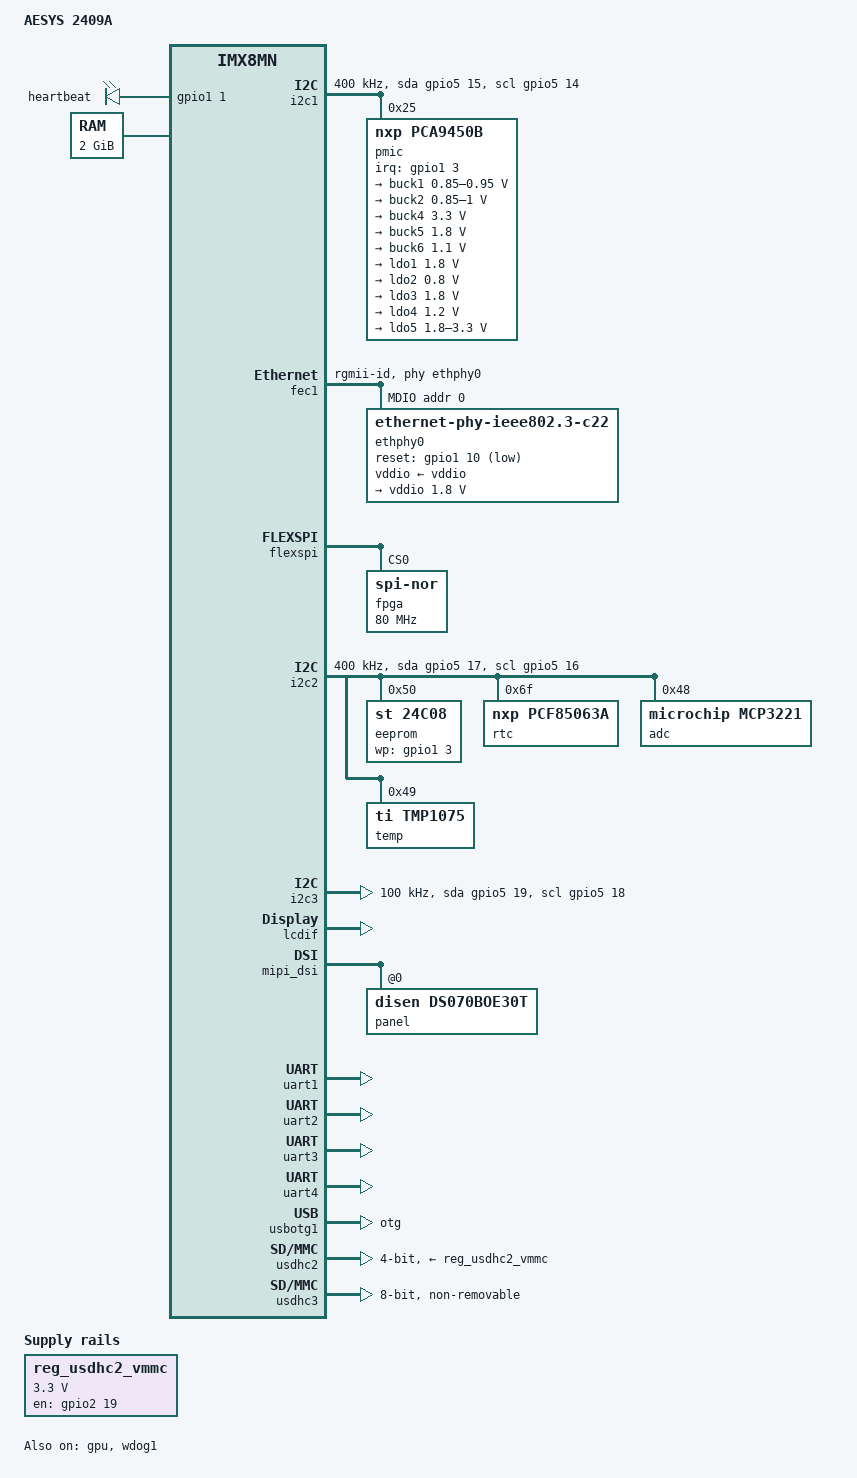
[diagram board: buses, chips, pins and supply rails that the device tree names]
// SPDX-License-Identifier: (GPL-2.0+ OR MIT)

/dts-v1/;

#include <dt-bindings/usb/pd.h>
#include "imx8mn.dtsi"

/ {
    model = "AESYS 2409A";
	compatible = "fsl,imx8mn-evk", "fsl,imx8mn";

	chosen {
		stdout-path = &uart2;
	};

    gpio-leds {
		compatible = "gpio-leds";
		pinctrl-names = "default";
		pinctrl-0 = <&pinctrl_gpio_led>;

		heartbeat {
			label = "heartbeat";
			linux,default-trigger = "heartbeat";
			gpios = <&gpio1 1 GPIO_ACTIVE_HIGH>;
		};
	};

	memory@40000000 {
		device_type = "memory";
		reg = <0x0 0x40000000 0 0x80000000>;
	};

	reg_usdhc2_vmmc: regulator-usdhc2 {
		compatible = "regulator-fixed";
		pinctrl-names = "default";
		pinctrl-0 = <&pinctrl_reg_usdhc2_vmmc>;
		regulator-name = "VSD_3V3";
		regulator-min-microvolt = <3300000>;
		regulator-max-microvolt = <3300000>;
		gpio = <&gpio2 19 GPIO_ACTIVE_HIGH>;
		off-on-delay-us = <12000>;
		enable-active-high;
	};
};

&A53_0 {
	cpu-supply = <&buck2>;
};

&A53_1 {
	cpu-supply = <&buck2>;
};

&A53_2 {
	cpu-supply = <&buck2>;
};

&A53_3 {
	cpu-supply = <&buck2>;
};

&i2c1 {
	pmic: pmic@25 {
		compatible = "nxp,pca9450b";
		reg = <0x25>;
		pinctrl-names = "default";
		pinctrl-0 = <&pinctrl_pmic>;
		interrupt-parent = <&gpio1>;
		interrupts = <3 IRQ_TYPE_LEVEL_LOW>;

		regulators {
			buck1: BUCK1 {
				regulator-name = "VDD_SOC";
				regulator-min-microvolt = <850000>;
				regulator-max-microvolt = <950000>;
				regulator-boot-on;
				regulator-always-on;
				regulator-ramp-delay = <3125>;
				nxp,dvs-run-voltage = <950000>;
				nxp,dvs-standby-voltage = <750000>;
			};

			buck2: BUCK2 {
				regulator-name = "VDD_ARM_0V9";
				regulator-min-microvolt = <850000>;
				regulator-max-microvolt = <1000000>;
				regulator-boot-on;
				regulator-always-on;
				regulator-ramp-delay = <3125>;
				nxp,dvs-run-voltage = <950000>;
				nxp,dvs-standby-voltage = <850000>;
			};

			buck4: BUCK4 {
				regulator-name = "VDD_3V3";
				regulator-min-microvolt = <3300000>;
				regulator-max-microvolt = <3300000>;
				regulator-boot-on;
				regulator-always-on;
			};

			buck5: BUCK5 {
				regulator-name = "VDD_1V8";
				regulator-min-microvolt = <1800000>;
				regulator-max-microvolt = <1800000>;
				regulator-boot-on;
				regulator-always-on;
			};

			buck6: BUCK6 {
				regulator-name = "NVCC_DRAM_1V1";
				regulator-min-microvolt = <1100000>;
				regulator-max-microvolt = <1100000>;
				regulator-boot-on;
				regulator-always-on;
			};

			ldo1: LDO1 {
				regulator-name = "NVCC_SNVS_1V8";
				regulator-min-microvolt = <1800000>;
				regulator-max-microvolt = <1800000>;
				regulator-boot-on;
				regulator-always-on;
			};

			ldo2: LDO2 {
				regulator-name = "VDD_SNVS_0V8";
				regulator-min-microvolt = <800000>;
				regulator-max-microvolt = <800000>;
				regulator-boot-on;
				regulator-always-on;
			};

			ldo3: LDO3 {
				regulator-name = "VDDA_1V8";
				regulator-min-microvolt = <1800000>;
				regulator-max-microvolt = <1800000>;
				regulator-boot-on;
				regulator-always-on;
			};

			ldo4: LDO4 {
				regulator-name = "VDD_PHY_1V2";
				regulator-min-microvolt = <1200000>;
				regulator-max-microvolt = <1200000>;
				regulator-boot-on;
				regulator-always-on;
			};

			ldo5: LDO5 {
				regulator-name = "NVCC_SD2";
				regulator-min-microvolt = <1800000>;
				regulator-max-microvolt = <3300000>;
				regulator-boot-on;
				regulator-always-on;
			};
		};
	};
};

&gpu {
	status = "okay";
};

&fec1 {
	pinctrl-names = "default";
	pinctrl-0 = <&pinctrl_fec1>;
	phy-mode = "rgmii-id";
	phy-handle = <&ethphy0>;
	fsl,magic-packet;
	status = "okay";

	mdio {
		#address-cells = <1>;
		#size-cells = <0>;

		ethphy0: ethernet-phy@0 {
			compatible = "ethernet-phy-ieee802.3-c22";
			reg = <0>;
			reset-gpios = <&gpio1 10 GPIO_ACTIVE_LOW>;
			reset-assert-us = <10000>;
			reset-deassert-us = <80000>;
			vddio-supply = <&vddio>;

			vddio: vddio-regulator {
				regulator-min-microvolt = <1800000>;
				regulator-max-microvolt = <1800000>;
			};
		};
	};
};

&flexspi {
	pinctrl-names = "default";
	pinctrl-0 = <&pinctrl_flexspi>;
	status = "okay";

	fpga: fpga@0 {
		reg = <0>;
		compatible = "jedec,spi-nor";
		spi-max-frequency = <80000000>;
		spi-tx-bus-width = <4>;
		spi-rx-bus-width = <4>;
		#address-cells = <1>;
		#size-cells = <1>;
	};
};

&i2c1 {
	clock-frequency = <400000>;
	pinctrl-names = "default";
	pinctrl-0 = <&pinctrl_i2c1>;
	pinctrl-1 = <&pinctrl_i2c1_gpio>;
	scl-gpios = <&gpio5 14 (GPIO_ACTIVE_HIGH | GPIO_OPEN_DRAIN)>;
	sda-gpios = <&gpio5 15 (GPIO_ACTIVE_HIGH | GPIO_OPEN_DRAIN)>;
	status = "okay";
};

&i2c2 {
	clock-frequency = <400000>;
	pinctrl-names = "default", "gpio";
	pinctrl-0 = <&pinctrl_i2c2>;
	pinctrl-1 = <&pinctrl_i2c2_gpio>;
	scl-gpios = <&gpio5 16 (GPIO_ACTIVE_HIGH | GPIO_OPEN_DRAIN)>;
	sda-gpios = <&gpio5 17 (GPIO_ACTIVE_HIGH | GPIO_OPEN_DRAIN)>;
	status = "okay";

	eeprom@50 {
		compatible = "st,24c08";
		pinctrl-names = "default";
		pinctrl-0 = <&pinctrl_eeprom>;
		reg = <0x50>;
		pagesize = <16>;
		wp-gpios = <&gpio1 3 16>;
		num-addresses = <1>;
	};

	rtc@6f {
		compatible = "nxp,pcf85063a";
		reg = <0x6f>;

		clock {
			compatible = "fixed-clock";
			#clock-cells = <0>;
			clock-frequency = <32768>;
		};
	};

	adc@48 {
		compatible = "microchip,mcp3221";
		reg = <0x48>;
	};

	temp@49 {
		compatible = "ti,tmp1075";
		reg = <0x49>;
	};
};

&i2c3 {
	clock-frequency = <100000>;
	pinctrl-names = "default", "gpio";
	pinctrl-0 = <&pinctrl_i2c3>;
	pinctrl-1 = <&pinctrl_i2c3_gpio>;
	scl-gpios = <&gpio5 18 GPIO_ACTIVE_HIGH>;
	sda-gpios = <&gpio5 19 GPIO_ACTIVE_HIGH>;
	status = "okay";
};

&lcdif {
	status = "okay";
};

&mipi_dsi {
	status = "okay";

	panel@0 {
		compatible = "disen,ds070boe30t";
		reg = <0>;
		status = "okay";
	};
};

&uart1 {
	pinctrl-names = "default";
	pinctrl-0 = <&pinctrl_uart1>;
	assigned-clocks = <&clk IMX8MN_CLK_UART1>;
	assigned-clock-parents = <&clk IMX8MN_SYS_PLL1_80M>;
	uart-has-rtscts;
	status = "okay";
};

&uart2 {
	pinctrl-names = "default";
	pinctrl-0 = <&pinctrl_uart2>;
	status = "okay";
};

&uart3 {
	pinctrl-names = "default";
	pinctrl-0 = <&pinctrl_uart3>;
	assigned-clocks = <&clk IMX8MN_CLK_UART3>;
	assigned-clock-parents = <&clk IMX8MN_SYS_PLL1_80M>;
	status = "okay";
};

&uart4 {
	pinctrl-names = "default";
	pinctrl-0 = <&pinctrl_uart4>;
	uart-has-rtscts;
	status = "okay";
};

&usbotg1 {
	dr_mode = "otg";
	pinctrl-names = "default";
	pinctrl-0 = <&pinctrl_usbotg>;
	hnp-disable;
	srp-disable;
	adp-disable;
	usb-role-switch;
	role-switch-default-mode = "peripheral";
	over-current-active-low;
	samsung,picophy-pre-emp-curr-control = <3>;
	samsung,picophy-dc-vol-level-adjust = <7>;
	status = "okay";
};

&usdhc2 {
	assigned-clocks = <&clk IMX8MN_CLK_USDHC2>;
	assigned-clock-rates = <200000000>;
	pinctrl-names = "default", "state_100mhz", "state_200mhz";
	pinctrl-0 = <&pinctrl_usdhc2>, <&pinctrl_usdhc2_gpio>;
	pinctrl-1 = <&pinctrl_usdhc2_100mhz>, <&pinctrl_usdhc2_gpio>;
	pinctrl-2 = <&pinctrl_usdhc2_200mhz>, <&pinctrl_usdhc2_gpio>;
	bus-width = <4>;
	vmmc-supply = <&reg_usdhc2_vmmc>;
	status = "okay";
};

&usdhc3 {
	assigned-clocks = <&clk IMX8MN_CLK_USDHC3_ROOT>;
	assigned-clock-rates = <400000000>;
	pinctrl-names = "default", "state_100mhz", "state_200mhz";
	pinctrl-0 = <&pinctrl_usdhc3>, <&pinctrl_usdhc3_reset>;
	pinctrl-1 = <&pinctrl_usdhc3_100mhz>, <&pinctrl_usdhc3_reset>;
	pinctrl-2 = <&pinctrl_usdhc3_200mhz>, <&pinctrl_usdhc3_reset>;
	bus-width = <8>;
	non-removable;
	status = "okay";
};

&wdog1 {
	pinctrl-names = "default";
	pinctrl-0 = <&pinctrl_wdog>;
	fsl,ext-reset-output;
	status = "okay";
};

&iomuxc {

	pinctrl-names = "default";
	pinctrl-0 = <&pinctrl_pin_gpios>;

    pinctrl_gpio_led: gpioledgrp {
		fsl,pins = <
            MX8MN_IOMUXC_ENET_TXC_GPIO1_IO23	0x16
        >;
	};

	pinctrl_fec1: fec1grp {
		fsl,pins = <
			MX8MN_IOMUXC_ENET_MDC_ENET1_MDC		0x3
			MX8MN_IOMUXC_ENET_MDIO_ENET1_MDIO	0x3
			MX8MN_IOMUXC_ENET_TD1_ENET1_RGMII_TD1	0x1f
			MX8MN_IOMUXC_ENET_TD0_ENET1_RGMII_TD0	0x1f
			MX8MN_IOMUXC_ENET_RD1_ENET1_RGMII_RD1	0x91
			MX8MN_IOMUXC_ENET_RD0_ENET1_RGMII_RD0	0x91
			MX8MN_IOMUXC_ENET_RX_CTL_ENET1_RGMII_RX_CTL	0x91
			MX8MN_IOMUXC_ENET_TX_CTL_ENET1_RGMII_TX_CTL	0x1f
			MX8MN_IOMUXC_ENET_RXC_ENET1_RX_ER	0x91
			MX8MN_IOMUXC_ENET_TD2_ENET1_TX_CLK	0x1f
			MX8MN_IOMUXC_GPIO1_IO10_GPIO1_IO10	0x19 /* ETH_nINT */
			MX8MN_IOMUXC_GPIO1_IO09_GPIO1_IO9	0x16 /* ETH_nRESET */
		>;
	};

	pinctrl_flexspi: flexspigrp {
		fsl,pins = <
			MX8MN_IOMUXC_NAND_ALE_QSPI_A_SCLK		0xc4
			MX8MN_IOMUXC_NAND_CE0_B_QSPI_A_SS0_B	0x84
			MX8MN_IOMUXC_NAND_DATA00_QSPI_A_DATA0	0x84
			MX8MN_IOMUXC_NAND_DATA01_QSPI_A_DATA1	0x84
			MX8MN_IOMUXC_NAND_DATA02_QSPI_A_DATA2	0x84
			MX8MN_IOMUXC_NAND_DATA03_QSPI_A_DATA3	0x84
		>;
	};

	pinctrl_i2c1: i2c1grp {
		fsl,pins = <
			MX8MN_IOMUXC_I2C1_SCL_I2C1_SCL		0x400001c3
			MX8MN_IOMUXC_I2C1_SDA_I2C1_SDA		0x400001c3
		>;
	};

	pinctrl_i2c1_gpio: i2c1gpiogrp {
		fsl,pins = <
			MX8MN_IOMUXC_I2C2_SCL_GPIO5_IO14	0x1c3
			MX8MN_IOMUXC_I2C2_SDA_GPIO5_IO15	0x1c3
		>;
	};

	pinctrl_i2c2: i2c2grp {
		fsl,pins = <
			MX8MN_IOMUXC_I2C2_SCL_I2C2_SCL		0x400001c3
			MX8MN_IOMUXC_I2C2_SDA_I2C2_SDA		0x400001c3
		>;
	};

	pinctrl_i2c2_gpio: i2c2gpiogrp {
		fsl,pins = <
			MX8MN_IOMUXC_I2C2_SCL_GPIO5_IO16	0x1c3
			MX8MN_IOMUXC_I2C2_SDA_GPIO5_IO17	0x1c3
		>;
	};

	pinctrl_i2c3: i2c3grp {
		fsl,pins = <
			MX8MN_IOMUXC_I2C3_SCL_I2C3_SCL		0x400001c3
			MX8MN_IOMUXC_I2C3_SDA_I2C3_SDA		0x400001c3
		>;
	};

	pinctrl_i2c3_gpio: i2c3gpiogrp {
		fsl,pins = <
			MX8MN_IOMUXC_I2C3_SCL_GPIO5_IO18	0x1c3
			MX8MN_IOMUXC_I2C3_SDA_GPIO5_IO19	0x1c3
		>;
	};

	pinctrl_pmic: pmicirqgrp {
		fsl,pins = <
			MX8MN_IOMUXC_GPIO1_IO03_GPIO1_IO3	0x141
		>;
	};

	pinctrl_reg_usdhc2_vmmc: regusdhc2vmmcgrp {
		fsl,pins = <
			MX8MN_IOMUXC_SD2_RESET_B_GPIO2_IO19	0x41
		>;
	};

	pinctrl_uart1: uart1grp {
		fsl,pins = <
			MX8MN_IOMUXC_SAI2_RXC_UART1_DCE_RX		0x140
			MX8MN_IOMUXC_SAI2_RXFS_UART1_DCE_TX		0x140
			MX8MN_IOMUXC_SAI2_RXD0_UART1_DTE_CTS_B	0x140
			MX8MN_IOMUXC_SAI2_TXFS_UART1_DTE_RTS_B	0x140
		>;
	};

	pinctrl_uart2: uart2grp {
		fsl,pins = <
			MX8MN_IOMUXC_SAI3_TXC_UART2_DTE_RX		0x140
			MX8MN_IOMUXC_SAI3_TXFS_UART2_DTE_TX		0x140
		>;
	};

	pinctrl_uart3: uart3grp {
		fsl,pins = <
			MX8MN_IOMUXC_UART3_RXD_UART3_DCE_RX		0x140
			MX8MN_IOMUXC_UART3_TXD_UART3_DCE_TX		0x140
		>;
	};

	pinctrl_uart4: uart4grp {
		fsl,pins = <
			MX8MN_IOMUXC_UART4_RXD_UART4_DCE_RX			0x140
			MX8MN_IOMUXC_UART4_TXD_UART4_DCE_TX			0x140
			MX8MN_IOMUXC_ECSPI2_MISO_UART4_DCE_CTS_B 	0x140
			MX8MN_IOMUXC_ECSPI2_SS0_UART4_DCE_RTS_B 	0x140
		>;
	};

	pinctrl_usdhc2_gpio: usdhc2gpiogrp {
		fsl,pins = <
			MX8MN_IOMUXC_SD2_CD_B_USDHC2_CD_B		0x1c4
		>;
	};

	pinctrl_usdhc2: usdhc2grp {
		fsl,pins = <
			MX8MN_IOMUXC_SD2_CLK_USDHC2_CLK		0x190
			MX8MN_IOMUXC_SD2_CMD_USDHC2_CMD		0x1d0
			MX8MN_IOMUXC_SD2_DATA0_USDHC2_DATA0	0x1d0
			MX8MN_IOMUXC_SD2_DATA1_USDHC2_DATA1	0x1d0
			MX8MN_IOMUXC_SD2_DATA2_USDHC2_DATA2	0x1d0
			MX8MN_IOMUXC_SD2_DATA3_USDHC2_DATA3	0x1d0
			MX8MN_IOMUXC_GPIO1_IO04_USDHC2_VSELECT	0x1d0
		>;
	};

	pinctrl_usdhc2_100mhz: usdhc2-100mhzgrp {
		fsl,pins = <
			MX8MN_IOMUXC_SD2_CLK_USDHC2_CLK		0x194
			MX8MN_IOMUXC_SD2_CMD_USDHC2_CMD		0x1d4
			MX8MN_IOMUXC_SD2_DATA0_USDHC2_DATA0	0x1d4
			MX8MN_IOMUXC_SD2_DATA1_USDHC2_DATA1	0x1d4
			MX8MN_IOMUXC_SD2_DATA2_USDHC2_DATA2	0x1d4
			MX8MN_IOMUXC_SD2_DATA3_USDHC2_DATA3	0x1d4
			MX8MN_IOMUXC_GPIO1_IO04_USDHC2_VSELECT	0x1d0
		>;
	};

	pinctrl_usdhc2_200mhz: usdhc2-200mhzgrp {
		fsl,pins = <
			MX8MN_IOMUXC_SD2_CLK_USDHC2_CLK		0x196
			MX8MN_IOMUXC_SD2_CMD_USDHC2_CMD		0x1d6
			MX8MN_IOMUXC_SD2_DATA0_USDHC2_DATA0	0x1d6
			MX8MN_IOMUXC_SD2_DATA1_USDHC2_DATA1	0x1d6
			MX8MN_IOMUXC_SD2_DATA2_USDHC2_DATA2	0x1d6
			MX8MN_IOMUXC_SD2_DATA3_USDHC2_DATA3	0x1d6
			MX8MN_IOMUXC_GPIO1_IO04_USDHC2_VSELECT	0x1d0
		>;
	};

	pinctrl_usdhc3_reset: usdhc3resetgrp {
		fsl,pins = <
			MX8MN_IOMUXC_GPIO1_IO11_GPIO1_IO11			0x16	/* eMMC RESET */
		>;
	};

	pinctrl_usdhc3: usdhc3grp {
		fsl,pins = <
			MX8MN_IOMUXC_NAND_WE_B_USDHC3_CLK		0x40000190
			MX8MN_IOMUXC_NAND_WP_B_USDHC3_CMD		0x1d0
			MX8MN_IOMUXC_NAND_DATA04_USDHC3_DATA0		0x1d0
			MX8MN_IOMUXC_NAND_DATA05_USDHC3_DATA1		0x1d0
			MX8MN_IOMUXC_NAND_DATA06_USDHC3_DATA2		0x1d0
			MX8MN_IOMUXC_NAND_DATA07_USDHC3_DATA3		0x1d0
			MX8MN_IOMUXC_NAND_RE_B_USDHC3_DATA4		0x1d0
			MX8MN_IOMUXC_NAND_CE2_B_USDHC3_DATA5		0x1d0
			MX8MN_IOMUXC_NAND_CE3_B_USDHC3_DATA6		0x1d0
			MX8MN_IOMUXC_NAND_CLE_USDHC3_DATA7		0x1d0
			MX8MN_IOMUXC_NAND_CE1_B_USDHC3_STROBE		0x190
		>;
	};

	pinctrl_usdhc3_100mhz: usdhc3-100mhzgrp {
		fsl,pins = <
			MX8MN_IOMUXC_NAND_WE_B_USDHC3_CLK		0x40000194
			MX8MN_IOMUXC_NAND_WP_B_USDHC3_CMD		0x1d4
			MX8MN_IOMUXC_NAND_DATA04_USDHC3_DATA0		0x1d4
			MX8MN_IOMUXC_NAND_DATA05_USDHC3_DATA1		0x1d4
			MX8MN_IOMUXC_NAND_DATA06_USDHC3_DATA2		0x1d4
			MX8MN_IOMUXC_NAND_DATA07_USDHC3_DATA3		0x1d4
			MX8MN_IOMUXC_NAND_RE_B_USDHC3_DATA4		0x1d4
			MX8MN_IOMUXC_NAND_CE2_B_USDHC3_DATA5		0x1d4
			MX8MN_IOMUXC_NAND_CE3_B_USDHC3_DATA6		0x1d4
			MX8MN_IOMUXC_NAND_CLE_USDHC3_DATA7		0x1d4
			MX8MN_IOMUXC_NAND_CE1_B_USDHC3_STROBE		0x194
		>;
	};

	pinctrl_usdhc3_200mhz: usdhc3-200mhzgrp {
		fsl,pins = <
			MX8MN_IOMUXC_NAND_WE_B_USDHC3_CLK		0x40000196
			MX8MN_IOMUXC_NAND_WP_B_USDHC3_CMD		0x1d6
			MX8MN_IOMUXC_NAND_DATA04_USDHC3_DATA0		0x1d6
			MX8MN_IOMUXC_NAND_DATA05_USDHC3_DATA1		0x1d6
			MX8MN_IOMUXC_NAND_DATA06_USDHC3_DATA2		0x1d6
			MX8MN_IOMUXC_NAND_DATA07_USDHC3_DATA3		0x1d6
			MX8MN_IOMUXC_NAND_RE_B_USDHC3_DATA4		0x1d6
			MX8MN_IOMUXC_NAND_CE2_B_USDHC3_DATA5		0x1d6
			MX8MN_IOMUXC_NAND_CE3_B_USDHC3_DATA6		0x1d6
			MX8MN_IOMUXC_NAND_CLE_USDHC3_DATA7		0x1d6
			MX8MN_IOMUXC_NAND_CE1_B_USDHC3_STROBE		0x196
		>;
	};

	pinctrl_wdog: wdoggrp {
		fsl,pins = <
			MX8MN_IOMUXC_GPIO1_IO02_WDOG1_WDOG_B		0x166
		>;
	};

	pinctrl_eeprom: eepromgrp {
		fsl,pins = <
			MX8MN_IOMUXC_NAND_READY_B_GPIO3_IO16	0x16
		>;
	};

	pinctrl_usbotg: usbotggrp {
		fsl,pins = <
			MX8MN_IOMUXC_GPIO1_IO13_USB1_OTG_OC			0x84
			MX8MN_IOMUXC_GPIO1_IO12_USB1_OTG_PWR		0x84
		>;
	};

	pinctrl_pin_gpios: pin_gpios {
		fsl,pins = <
			MX8MN_IOMUXC_SAI3_RXC_GPIO4_IO29        0x00000016  /* GPT1_CLK */
			MX8MN_IOMUXC_SAI3_RXD_GPIO4_IO30        0x00000016  /* GPT1_COMPARE1 */
			MX8MN_IOMUXC_SAI3_RXFS_GPIO4_IO28       0x00000016  /* GPT1_CAPTURE1 */
			MX8MN_IOMUXC_SPDIF_EXT_CLK_GPIO5_IO5    0x00000016  /* PWM1 */
			MX8MN_IOMUXC_SPDIF_RX_GPIO5_IO4         0x00000016  /* PWM2 */
			MX8MN_IOMUXC_SPDIF_TX_GPIO5_IO3         0x00000016  /* PWM3 */
			MX8MN_IOMUXC_SAI3_MCLK_GPIO5_IO2        0x00000016  /* PWM4 */
			MX8MN_IOMUXC_SAI3_TXD_GPIO5_IO1         0x00000016  /* FPGA_PROGRAM */
			MX8MN_IOMUXC_ECSPI2_SCLK_GPIO5_IO10     0x00000016  /* FPGA_nINIT */
			MX8MN_IOMUXC_ECSPI2_MOSI_GPIO5_IO11     0x00000016  /* FPGA_DONE */
			MX8MN_IOMUXC_GPIO1_IO00_GPIO1_IO0       0x00000016  /* FPGA_I2C_nINT */
			MX8MN_IOMUXC_ENET_RD3_GPIO1_IO29        0x00000016  /* FPGA_RESET */
			MX8MN_IOMUXC_GPIO1_IO01_GPIO1_IO1       0x00000016	/* WDOG_EN */
			MX8MN_IOMUXC_GPIO1_IO06_GPIO1_IO6       0x00000016	/* WDOG_WDI */
			MX8MN_IOMUXC_GPIO1_IO07_GPIO1_IO7       0x00000016	/* WDOG_SET0 */
			MX8MN_IOMUXC_GPIO1_IO08_GPIO1_IO8       0x00000016	/* WDOG_SET1 */
			MX8MN_IOMUXC_ENET_RD2_GPIO1_IO28        0x00000016	/* TEMP_SENS_nINT */
			MX8MN_IOMUXC_ENET_TD3_GPIO1_IO18        0x00000016	/* RTC_nINT */
			MX8MN_IOMUXC_GPIO1_IO05_M7_NMI          0x00000016	/* M7 NMI */
			MX8MN_IOMUXC_SAI2_TXC_GPIO4_IO25        0x00000016  /* uP_FLASH_nSEL */
			MX8MN_IOMUXC_SAI2_MCLK_GPIO4_IO27       0x00000016  /* FLASH_W */
			MX8MN_IOMUXC_SAI2_TXD0_GPIO4_IO26       0x00000016  /* I2C_EXT_nINT */
		>;
	};
};
